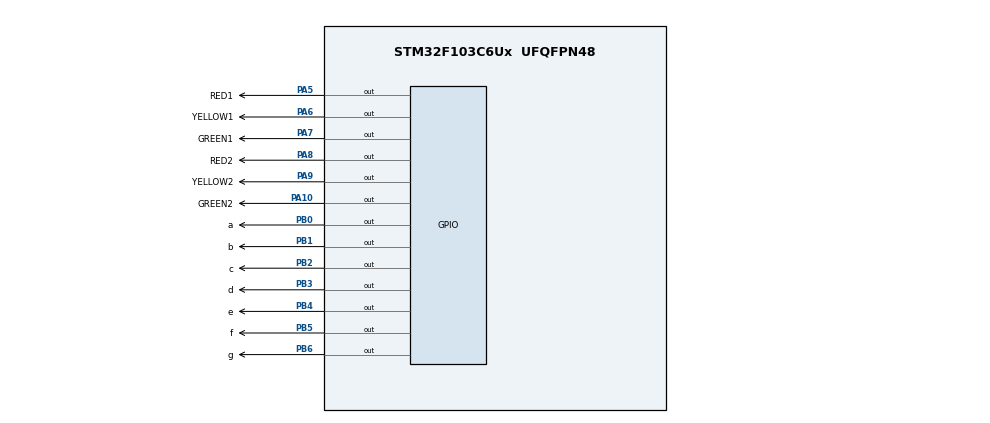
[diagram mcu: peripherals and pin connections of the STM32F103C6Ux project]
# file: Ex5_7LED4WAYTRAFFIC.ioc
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Mcu.Family=STM32F1
Mcu.Name=STM32F103C6Ux
Mcu.Package=UFQFPN48
NVIC.PriorityGroup=NVIC_PRIORITYGROUP_4
PA10.GPIO_Label=GREEN2
PA10.Signal=GPIO_Output
PA5.GPIO_Label=RED1
PA5.Signal=GPIO_Output
PA6.GPIO_Label=YELLOW1
PA6.Signal=GPIO_Output
PA7.GPIO_Label=GREEN1
PA7.Signal=GPIO_Output
PA8.GPIO_Label=RED2
PA8.Signal=GPIO_Output
PA9.GPIO_Label=YELLOW2
PA9.Signal=GPIO_Output
PB0.GPIO_Label=a
PB0.Signal=GPIO_Output
PB1.GPIO_Label=b
PB1.Signal=GPIO_Output
PB2.GPIO_Label=c
PB2.Signal=GPIO_Output
PB3.GPIO_Label=d
PB3.Signal=GPIO_Output
PB4.GPIO_Label=e
PB4.Signal=GPIO_Output
PB5.GPIO_Label=f
PB5.Signal=GPIO_Output
PB6.GPIO_Label=g
PB6.Signal=GPIO_Output
ProjectManager.HeapSize=0x200
ProjectManager.StackSize=0x400
ProjectManager.TargetToolchain=STM32CubeIDE
RCC.APB1Freq_Value=8000000
RCC.APB2Freq_Value=8000000
VP_SYS_VS_ND.Mode=No_Debug
board=custom

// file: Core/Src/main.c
/* USER CODE BEGIN Header */
/**
  ******************************************************************************
  * @file           : main.c
  * @brief          : Main program body
  ******************************************************************************
  * @attention
  *
  * <h2><center>&copy; Copyright (c) 2023 STMicroelectronics.
  * All rights reserved.</center></h2>
  *
  * This software component is licensed by ST under BSD 3-Clause license,
  * the "License"; You may not use this file except in compliance with the
  * License. You may obtain a copy of the License at:
  *                        opensource.org/licenses/BSD-3-Clause
  *
  ******************************************************************************
  */
/* USER CODE END Header */
#include "main.h"

void SystemClock_Config(void);
static void MX_GPIO_Init(void);

/* USER CODE BEGIN 0 */
void display7SEG(int num){

	switch(num) {
	  case 0:
	    	HAL_GPIO_WritePin(a_GPIO_Port, a_Pin, RESET);
	    	HAL_GPIO_WritePin(b_GPIO_Port, b_Pin, RESET);
	    	HAL_GPIO_WritePin(c_GPIO_Port, c_Pin, RESET);
	    	HAL_GPIO_WritePin(d_GPIO_Port, d_Pin, RESET);
	    	HAL_GPIO_WritePin(e_GPIO_Port, e_Pin, RESET);
	    	HAL_GPIO_WritePin(f_GPIO_Port, f_Pin, RESET);
	    	HAL_GPIO_WritePin(g_GPIO_Port, g_Pin, SET);
		  	break;
	  case 1:
		    HAL_GPIO_WritePin(a_GPIO_Port, a_Pin, SET);
	    	HAL_GPIO_WritePin(b_GPIO_Port, b_Pin, RESET);
		   	HAL_GPIO_WritePin(c_GPIO_Port, c_Pin, RESET);
		  	HAL_GPIO_WritePin(d_GPIO_Port, d_Pin, SET);
		  	HAL_GPIO_WritePin(e_GPIO_Port, e_Pin, SET);
		   	HAL_GPIO_WritePin(f_GPIO_Port, f_Pin, SET);
		   	HAL_GPIO_WritePin(g_GPIO_Port, g_Pin, SET);
		  	break;
	  case 2:
		    HAL_GPIO_WritePin(a_GPIO_Port, a_Pin, RESET);
		    HAL_GPIO_WritePin(b_GPIO_Port, b_Pin, RESET);
		    HAL_GPIO_WritePin(c_GPIO_Port, c_Pin, SET);
		    HAL_GPIO_WritePin(d_GPIO_Port, d_Pin, RESET);
		    HAL_GPIO_WritePin(e_GPIO_Port, e_Pin, RESET);
		    HAL_GPIO_WritePin(f_GPIO_Port, f_Pin, SET);
		    HAL_GPIO_WritePin(g_GPIO_Port, g_Pin, RESET);
		   	break;
	  case 3:
		  	HAL_GPIO_WritePin(a_GPIO_Port, a_Pin, RESET);
		    HAL_GPIO_WritePin(b_GPIO_Port, b_Pin, RESET);
		    HAL_GPIO_WritePin(c_GPIO_Port, c_Pin, RESET);
		    HAL_GPIO_WritePin(d_GPIO_Port, d_Pin, RESET);
		    HAL_GPIO_WritePin(e_GPIO_Port, e_Pin, SET);
		    HAL_GPIO_WritePin(f_GPIO_Port, f_Pin, SET);
		  	HAL_GPIO_WritePin(g_GPIO_Port, g_Pin, RESET);
		  	break;
	  case 4:
		  	HAL_GPIO_WritePin(a_GPIO_Port, a_Pin, SET);
		    HAL_GPIO_WritePin(b_GPIO_Port, b_Pin, RESET);
		    HAL_GPIO_WritePin(c_GPIO_Port, c_Pin, RESET);
		    HAL_GPIO_WritePin(d_GPIO_Port, d_Pin, SET);
		    HAL_GPIO_WritePin(e_GPIO_Port, e_Pin, SET);
		    HAL_GPIO_WritePin(f_GPIO_Port, f_Pin, RESET);
		    HAL_GPIO_WritePin(g_GPIO_Port, g_Pin, RESET);
		    break;
	  case 5:
		    HAL_GPIO_WritePin(a_GPIO_Port, a_Pin, RESET);
		    HAL_GPIO_WritePin(b_GPIO_Port, b_Pin, SET);
		    HAL_GPIO_WritePin(c_GPIO_Port, c_Pin, RESET);
		    HAL_GPIO_WritePin(d_GPIO_Port, d_Pin, RESET);
		    HAL_GPIO_WritePin(e_GPIO_Port, e_Pin, SET);
		    HAL_GPIO_WritePin(f_GPIO_Port, f_Pin, RESET);
		    HAL_GPIO_WritePin(g_GPIO_Port, g_Pin, RESET);
	  	    break;
	  case 6:
		  	HAL_GPIO_WritePin(a_GPIO_Port, a_Pin, RESET);
		    HAL_GPIO_WritePin(b_GPIO_Port, b_Pin, SET);
		    HAL_GPIO_WritePin(c_GPIO_Port, c_Pin, RESET);
		    HAL_GPIO_WritePin(d_GPIO_Port, d_Pin, RESET);
		    HAL_GPIO_WritePin(e_GPIO_Port, e_Pin, RESET);
		    HAL_GPIO_WritePin(f_GPIO_Port, f_Pin, RESET);
		    HAL_GPIO_WritePin(g_GPIO_Port, g_Pin, RESET);
		    break;
	  case 7:
	  		HAL_GPIO_WritePin(a_GPIO_Port, a_Pin, RESET);
	  		HAL_GPIO_WritePin(b_GPIO_Port, b_Pin, RESET);
	  	    HAL_GPIO_WritePin(c_GPIO_Port, c_Pin, RESET);
	  	    HAL_GPIO_WritePin(d_GPIO_Port, d_Pin, SET);
		    HAL_GPIO_WritePin(e_GPIO_Port, e_Pin, SET);
 		    HAL_GPIO_WritePin(f_GPIO_Port, f_Pin, SET);
		    HAL_GPIO_WritePin(g_GPIO_Port, g_Pin, SET);
	  		break;
	  case 8:
	    	HAL_GPIO_WritePin(a_GPIO_Port, a_Pin, RESET);
		    HAL_GPIO_WritePin(b_GPIO_Port, b_Pin, RESET);
		    HAL_GPIO_WritePin(c_GPIO_Port, c_Pin, RESET);
		    HAL_GPIO_WritePin(d_GPIO_Port, d_Pin, RESET);
	        HAL_GPIO_WritePin(e_GPIO_Port, e_Pin, RESET);
	  	    HAL_GPIO_WritePin(f_GPIO_Port, f_Pin, RESET);
		    HAL_GPIO_WritePin(g_GPIO_Port, g_Pin, RESET);
		    break;
	  case 9:
	  		HAL_GPIO_WritePin(a_GPIO_Port, a_Pin, RESET);
	  		HAL_GPIO_WritePin(b_GPIO_Port, b_Pin, RESET);
	  		HAL_GPIO_WritePin(c_GPIO_Port, c_Pin, RESET);
	  	    HAL_GPIO_WritePin(d_GPIO_Port, d_Pin, RESET);
	  	    HAL_GPIO_WritePin(e_GPIO_Port, e_Pin, SET);
		    HAL_GPIO_WritePin(f_GPIO_Port, f_Pin, RESET);
	  		HAL_GPIO_WritePin(g_GPIO_Port, g_Pin, RESET);
	  	    break;
	  default:
		  	break;
	}

}
/* USER CODE END 0 */

int main(void)
{

  /* MCU Configuration--------------------------------------------------------*/

  /* Reset of all peripherals, Initializes the Flash interface and the Systick. */
  HAL_Init();

  /* Configure the system clock */
  SystemClock_Config();

  /* Initialize all configured peripherals */
  MX_GPIO_Init();

  /* Infinite loop */
  /* USER CODE BEGIN WHILE */
  int sec1 = 0;
  int sec2 = 5;		// cum den 2 se chay cham hon cum-den-1 5giay;
  int temp_sec = 5;	// dong ho cua 7segment, bat dau luc cum-den-1 sang DO 5 giay

	// trang thai mac dinh cho cum den 1
  HAL_GPIO_WritePin(RED1_GPIO_Port, RED1_Pin, RESET);
  HAL_GPIO_WritePin(YELLOW1_GPIO_Port, YELLOW1_Pin, SET);
  HAL_GPIO_WritePin(GREEN1_GPIO_Port, GREEN1_Pin, SET);

  // trang thai mac dinh cho cum den 2
  HAL_GPIO_WritePin(RED2_GPIO_Port, RED2_Pin, RESET);
  HAL_GPIO_WritePin(YELLOW2_GPIO_Port, YELLOW2_Pin, SET);
  HAL_GPIO_WritePin(GREEN2_GPIO_Port, GREEN2_Pin, SET);

  while (1)
  {
  	  ++sec1;
  	  ++sec2;

  	  //den DO1 sang 5 giay, sau do swictch-case.
  	  switch(sec1) {
  	  // den XANH1 sang
  	    case 6:
  	    	HAL_GPIO_WritePin(RED1_GPIO_Port, RED1_Pin, SET);
  	    	HAL_GPIO_WritePin(GREEN1_GPIO_Port, GREEN1_Pin, RESET);
  	    	temp_sec = 3;		// 7segment dem nguoc 3 giay sang cua den xanh
  	      break;
  	  // den VANG1 sang
  	    case 9:
  	    	HAL_GPIO_WritePin(GREEN1_GPIO_Port, GREEN1_Pin, SET);
  	    	HAL_GPIO_WritePin(YELLOW1_GPIO_Port, YELLOW1_Pin, RESET);
  	    	temp_sec = 2;		// 7segment dem nguoc 2 giay sang cua den vang
  	      break;
  	  // reset ve 1, den DO1 sang
  	    case 11:
  	    	HAL_GPIO_WritePin(YELLOW1_GPIO_Port, YELLOW1_Pin, SET);
  	    	HAL_GPIO_WritePin(RED1_GPIO_Port, RED1_Pin, RESET);
  	    	temp_sec = 5;		// reset dem nguoc 5 giay den do
  	    	sec1 = 1;
  	      break;

  	    default:
  	      break;
  	  }

  	  display7SEG(temp_sec--);

  	  switch(sec2) {
  	  	  // den XANH2 sang
  	  	    case 6:
  	  	    	HAL_GPIO_WritePin(RED2_GPIO_Port, RED2_Pin, SET);
  	  	    	HAL_GPIO_WritePin(GREEN2_GPIO_Port, GREEN2_Pin, RESET);
  	  	      break;
  	  	  // den VANG2 sang
  	  	    case 9:
  	  	    	HAL_GPIO_WritePin(GREEN2_GPIO_Port, GREEN2_Pin, SET);
  	  	    	HAL_GPIO_WritePin(YELLOW2_GPIO_Port, YELLOW2_Pin, RESET);
  	  	      break;
  	  	  // reset ve 1, den DO2 sang
  	  	    case 11:
  	  	    	HAL_GPIO_WritePin(YELLOW2_GPIO_Port, YELLOW2_Pin, SET);
  	  	    	HAL_GPIO_WritePin(RED2_GPIO_Port, RED2_Pin, RESET);
  	  	    	sec2 = 1;
  	  	      break;

  	  	    default:
  	  	      break;
  	  }

  	  HAL_Delay(1000);
    /* USER CODE END WHILE */

  }
}

void SystemClock_Config(void)
{
  RCC_OscInitTypeDef RCC_OscInitStruct = {0};
  RCC_ClkInitTypeDef RCC_ClkInitStruct = {0};

  /** Initializes the RCC Oscillators according to the specified parameters
  * in the RCC_OscInitTypeDef structure.
  */
  RCC_OscInitStruct.OscillatorType = RCC_OSCILLATORTYPE_HSI;
  RCC_OscInitStruct.HSIState = RCC_HSI_ON;
  RCC_OscInitStruct.HSICalibrationValue = RCC_HSICALIBRATION_DEFAULT;
  RCC_OscInitStruct.PLL.PLLState = RCC_PLL_NONE;
  if (HAL_RCC_OscConfig(&RCC_OscInitStruct) != HAL_OK)
  {
    Error_Handler();
  }
  /** Initializes the CPU, AHB and APB buses clocks
  */
  RCC_ClkInitStruct.ClockType = RCC_CLOCKTYPE_HCLK|RCC_CLOCKTYPE_SYSCLK
                              |RCC_CLOCKTYPE_PCLK1|RCC_CLOCKTYPE_PCLK2;
  RCC_ClkInitStruct.SYSCLKSource = RCC_SYSCLKSOURCE_HSI;
  RCC_ClkInitStruct.AHBCLKDivider = RCC_SYSCLK_DIV1;
  RCC_ClkInitStruct.APB1CLKDivider = RCC_HCLK_DIV1;
  RCC_ClkInitStruct.APB2CLKDivider = RCC_HCLK_DIV1;

  if (HAL_RCC_ClockConfig(&RCC_ClkInitStruct, FLASH_LATENCY_0) != HAL_OK)
  {
    Error_Handler();
  }
}

static void MX_GPIO_Init(void)
{
  GPIO_InitTypeDef GPIO_InitStruct = {0};

  /* GPIO Ports Clock Enable */
  __HAL_RCC_GPIOA_CLK_ENABLE();
  __HAL_RCC_GPIOB_CLK_ENABLE();

  /*Configure GPIO pin Output Level */
  HAL_GPIO_WritePin(GPIOA, RED1_Pin|YELLOW1_Pin|GREEN1_Pin|RED2_Pin
                          |YELLOW2_Pin|GREEN2_Pin, GPIO_PIN_RESET);

  /*Configure GPIO pin Output Level */
  HAL_GPIO_WritePin(GPIOB, a_Pin|b_Pin|c_Pin|d_Pin
                          |e_Pin|f_Pin|g_Pin, GPIO_PIN_RESET);

  /*Configure GPIO pins : RED1_Pin YELLOW1_Pin GREEN1_Pin RED2_Pin
                           YELLOW2_Pin GREEN2_Pin */
  GPIO_InitStruct.Pin = RED1_Pin|YELLOW1_Pin|GREEN1_Pin|RED2_Pin
                          |YELLOW2_Pin|GREEN2_Pin;
  GPIO_InitStruct.Mode = GPIO_MODE_OUTPUT_PP;
  GPIO_InitStruct.Pull = GPIO_NOPULL;
  GPIO_InitStruct.Speed = GPIO_SPEED_FREQ_LOW;
  HAL_GPIO_Init(GPIOA, &GPIO_InitStruct);

  /*Configure GPIO pins : a_Pin b_Pin c_Pin d_Pin
                           e_Pin f_Pin g_Pin */
  GPIO_InitStruct.Pin = a_Pin|b_Pin|c_Pin|d_Pin
                          |e_Pin|f_Pin|g_Pin;
  GPIO_InitStruct.Mode = GPIO_MODE_OUTPUT_PP;
  GPIO_InitStruct.Pull = GPIO_NOPULL;
  GPIO_InitStruct.Speed = GPIO_SPEED_FREQ_LOW;
  HAL_GPIO_Init(GPIOB, &GPIO_InitStruct);

}

void Error_Handler(void)
{
  __disable_irq();
  while (1)
  {
  }
}

/************************ (C) COPYRIGHT STMicroelectronics *****END OF FILE****/
